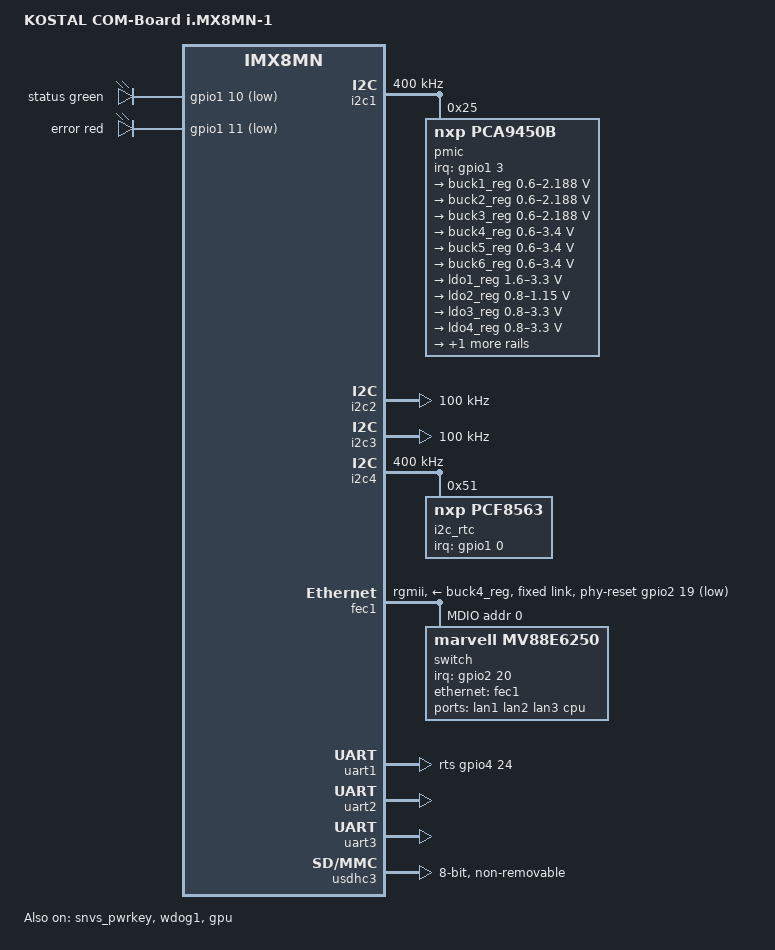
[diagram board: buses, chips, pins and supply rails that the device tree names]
/*
 * Copyright 2019 NXP
 * Copyright (c) 2022 KOSTAL Industrie Elektrik GmbH. All rights reserved.
 *
 * This program is free software; you can redistribute it and/or
 * modify it under the terms of the GNU General Public License
 * as published by the Free Software Foundation; either version 2
 * of the License, or (at your option) any later version.
 *
 * This program is distributed in the hope that it will be useful,
 * but WITHOUT ANY WARRANTY; without even the implied warranty of
 * MERCHANTABILITY or FITNESS FOR A PARTICULAR PURPOSE.  See the
 * GNU General Public License for more details.
 */

/dts-v1/;

#include <dt-bindings/usb/pd.h>
#include <dt-bindings/leds/common.h>
#include "imx8mn.dtsi"

/ {
    model = "KOSTAL COM-Board i.MX8MN-1";
    compatible = "kostal,kcbmx8mn", "fsl,imx8mn-evk", "fsl,imx8mn";

    chosen {
        bootargs = "console=ttymxc1,115200 earlycon=ec_imx6q,0x30890000,115200";
        stdout-path = &uart2;
    };

    leds {
        compatible = "gpio-leds";
        pinctrl-names = "default";
        pinctrl-0 = <&pinctrl_gpio_led>;

        status {
            function = LED_FUNCTION_BOOT;
            color = <LED_COLOR_ID_GREEN>;
            linux,default-trigger = "heartbeat";
            gpios = <&gpio1 10 GPIO_ACTIVE_LOW>;
        };

        error {
            function = LED_FUNCTION_BOOT;
            color = <LED_COLOR_ID_RED>;
            linux,default-trigger = "panic";
            gpios = <&gpio1 11 GPIO_ACTIVE_LOW>;
        };
    };

    aliases {
        rtc0 = &i2c_rtc;
        rtc1 = &snvs_rtc;
    };
};

&A53_0 {
    cpu-supply = <&buck2_reg>;
};

&i2c1 {
    clock-frequency = <400000>;
    pinctrl-names = "default";
    pinctrl-0 = <&pinctrl_i2c1>;
    status = "okay";

    pmic: pca9450@25 {
        reg = <0x25>;
        compatible = "nxp,pca9450b";
        pinctrl-0 = <&pinctrl_pmic>;
        interrupt-parent = <&gpio1>;
        interrupts = <3 IRQ_TYPE_LEVEL_LOW>;

        regulators {
            #address-cells = <1>;
            #size-cells = <0>;

            pca9450,pmic-buck2-uses-i2c-dvs;
            /* Run/Standby voltage */
            pca9450,pmic-buck2-dvs-voltage = <950000>, <850000>;

            buck1_reg: BUCK1 {
                regulator-name = "BUCK1";
                regulator-min-microvolt = <600000>;
                regulator-max-microvolt = <2187500>;
                regulator-boot-on;
                regulator-always-on;
                regulator-ramp-delay = <3125>;
            };

            buck2_reg: BUCK2 {
                regulator-name = "BUCK2";
                regulator-min-microvolt = <600000>;
                regulator-max-microvolt = <2187500>;
                regulator-boot-on;
                regulator-always-on;
                regulator-ramp-delay = <3125>;
            };

            buck3_reg: BUCK3 {
                regulator-name = "BUCK3";
                regulator-min-microvolt = <600000>;
                regulator-max-microvolt = <2187500>;
                regulator-boot-on;
                regulator-always-on;
            };

            buck4_reg: BUCK4 {
                regulator-name = "BUCK4";
                regulator-min-microvolt = <600000>;
                regulator-max-microvolt = <3400000>;
                regulator-boot-on;
                regulator-always-on;
            };

            buck5_reg: BUCK5 {
                regulator-name = "BUCK5";
                regulator-min-microvolt = <600000>;
                regulator-max-microvolt = <3400000>;
                regulator-boot-on;
                regulator-always-on;
            };

            buck6_reg: BUCK6 {
                regulator-name = "BUCK6";
                regulator-min-microvolt = <600000>;
                regulator-max-microvolt = <3400000>;
                regulator-boot-on;
                regulator-always-on;
            };

            ldo1_reg: LDO1 {
                regulator-name = "LDO1";
                regulator-min-microvolt = <1600000>;
                regulator-max-microvolt = <3300000>;
                regulator-boot-on;
                regulator-always-on;
            };

            ldo2_reg: LDO2 {
                regulator-name = "LDO2";
                regulator-min-microvolt = <800000>;
                regulator-max-microvolt = <1150000>;
                regulator-boot-on;
                regulator-always-on;
            };

            ldo3_reg: LDO3 {
                regulator-name = "LDO3";
                regulator-min-microvolt = <800000>;
                regulator-max-microvolt = <3300000>;
                regulator-boot-on;
                regulator-always-on;
            };

            ldo4_reg: LDO4 {
                regulator-name = "LDO4";
                regulator-min-microvolt = <800000>;
                regulator-max-microvolt = <3300000>;
                regulator-boot-on;
                regulator-always-on;
            };

            ldo5_reg: LDO5 {
                regulator-name = "LDO5";
                regulator-min-microvolt = <1800000>;
                regulator-max-microvolt = <3300000>;
            };
        };
    };
};

&i2c2 {
    // RFID
    clock-frequency = <100000>;
    pinctrl-names = "default";
    pinctrl-0 = <&pinctrl_i2c2>;
    status = "okay";
};

&i2c3 {
    //DSI
    clock-frequency = <100000>;
    pinctrl-names = "default";
    pinctrl-0 = <&pinctrl_i2c3>;
    status = "okay";
};

&i2c4 {
    clock-frequency = <400000>;
    pinctrl-names = "default";
    pinctrl-0 = <&pinctrl_i2c4>;
    status = "okay";

    i2c_rtc: rtc@51 {
        compatible = "nxp,pcf8563";
        reg = <0x51>;
        #clock-cells = <0>;
        pinctrl-names = "default";
        pinctrl-0 = <&pinctrl_rtc_int>;
        interrupt-parent = <&gpio1>;
        interrupts = <0 IRQ_TYPE_LEVEL_LOW>;
    };
};

&fec1 {
    pinctrl-names = "default";
    pinctrl-0 = <&pinctrl_fec1>;
    phy-mode = "rgmii";
    phy-reset-gpios = <&gpio2 19 GPIO_ACTIVE_LOW>;
    phy-reset-duration = <10>;
    phy-reset-post-delay = <20>;
    phy-supply = <&buck4_reg>;
    fsl,magic-packet;
    status = "okay";

    fixed-link {
        speed = <100>;
        full-duplex;
    };

    mdio {
        #address-cells = <1>;
        #size-cells = <0>;

        switch@0 {
            compatible = "marvell,mv88e6250";
            reg = <0x00>;

            interrupt-parent = <&gpio2>;
            interrupts = <20 IRQ_TYPE_LEVEL_LOW>;
            interrupt-controller;
            #interrupt-cells = <2>;

            ports {
                #address-cells = <1>;
                #size-cells = <0>;

                port@0 {
                    reg = <0>;
                    label = "lan1";
                };

                port@1 {
                    reg = <1>;
                    label = "lan2";
                };

                port@2 {
                    reg = <2>;
                    label = "lan3";
                };

                port@5 {
                    reg = <5>;
                    label = "cpu";
                    phy-mode = "rgmii-id";
                    ethernet = <&fec1>;

                    fixed-link {
                           speed = <100>;
                           full-duplex;
                    };
                };
            };
        };
    };
};

&snvs_pwrkey {
    status = "okay";
};

&uart1 { /* RS485 on ttymxc0 */
    pinctrl-names = "default";
    pinctrl-0 = <&pinctrl_uart1>;
    rs485-rx-during-tx;
    rts-gpios = <&gpio4 24 GPIO_ACTIVE_HIGH>;
    linux,rs485-enabled-at-boot-time;
    status = "okay";
};

&uart2 { /* console */
    pinctrl-names = "default";
    pinctrl-0 = <&pinctrl_uart2>;
    status = "okay";
};

&uart3 { /* extern */
    pinctrl-names = "default";
    pinctrl-0 = <&pinctrl_uart3>;
    fsl,uart-has-rtscts;
    status = "okay";
};

&usdhc2 { /* SD card - not working with current hardware */
    status = "disabled";
};

&usdhc3 { /* eMMC */
    pinctrl-names = "default", "state_100mhz", "state_200mhz";
    pinctrl-0 = <&pinctrl_usdhc3>;
    pinctrl-1 = <&pinctrl_usdhc3_100mhz>;
    pinctrl-2 = <&pinctrl_usdhc3_200mhz>;
    bus-width = <8>;
    non-removable;
    status = "okay";
};

&wdog1 {
    pinctrl-names = "default";
    pinctrl-0 = <&pinctrl_wdog>;
    fsl,ext-reset-output;
    status = "okay";
};

&gpu {
    status = "okay";
};

&iomuxc {
    pinctrl-names = "default";

    imx8mn-evk {
        pinctrl_fec1: fec1grp {
            fsl,pins = <
                MX8MN_IOMUXC_ENET_MDC_ENET1_MDC                 0x3
                MX8MN_IOMUXC_ENET_MDIO_ENET1_MDIO               0x3
                MX8MN_IOMUXC_ENET_TD3_ENET1_RGMII_TD3           0x1f
                MX8MN_IOMUXC_ENET_TD2_ENET1_RGMII_TD2           0x1f
                MX8MN_IOMUXC_ENET_TD1_ENET1_RGMII_TD1           0x1f
                MX8MN_IOMUXC_ENET_TD0_ENET1_RGMII_TD0           0x1f
                MX8MN_IOMUXC_ENET_RD3_ENET1_RGMII_RD3           0x191 // low
                MX8MN_IOMUXC_ENET_RD2_ENET1_RGMII_RD2           0x191 // low nicht schön 0.7V
                MX8MN_IOMUXC_ENET_RD1_ENET1_RGMII_RD1           0x191 // low
                MX8MN_IOMUXC_ENET_RD0_ENET1_RGMII_RD0           0x1D1 // high
                MX8MN_IOMUXC_ENET_TXC_ENET1_RGMII_TXC           0x1f
                MX8MN_IOMUXC_ENET_RXC_ENET1_RGMII_RXC           0x91
                MX8MN_IOMUXC_ENET_RX_CTL_ENET1_RGMII_RX_CTL     0x91
                MX8MN_IOMUXC_ENET_TX_CTL_ENET1_RGMII_TX_CTL     0x1f
                MX8MN_IOMUXC_SD2_RESET_B_GPIO2_IO19             0x19
                MX8MN_IOMUXC_SD2_WP_GPIO2_IO20                  0x159
            >;
        };

        pinctrl_gpio_led: gpioledgrp {
            fsl,pins = <
                MX8MN_IOMUXC_GPIO1_IO10_GPIO1_IO10          0x19
                MX8MN_IOMUXC_GPIO1_IO11_GPIO1_IO11          0x19
            >;
        };

        pinctrl_i2c1: i2c1grp {
            fsl,pins = <
                MX8MN_IOMUXC_I2C1_SCL_I2C1_SCL              0x400001c3
                MX8MN_IOMUXC_I2C1_SDA_I2C1_SDA              0x400001c3
            >;
        };

        pinctrl_pmic: pmicirq {
            fsl,pins = <
                MX8MN_IOMUXC_GPIO1_IO03_GPIO1_IO3           0x41
            >;
        };

        pinctrl_i2c2: i2c2grp {
            fsl,pins = <
                MX8MN_IOMUXC_I2C2_SCL_I2C2_SCL              0x400001c3
                MX8MN_IOMUXC_I2C2_SDA_I2C2_SDA              0x400001c3
            >;
        };

        pinctrl_i2c3: i2c3grp {
            fsl,pins = <
                MX8MN_IOMUXC_I2C3_SCL_I2C3_SCL              0x400001c3
                MX8MN_IOMUXC_I2C3_SDA_I2C3_SDA              0x400001c3
            >;
        };

        pinctrl_i2c4: i2c4grp {
            fsl,pins = <
                MX8MN_IOMUXC_I2C4_SCL_I2C4_SCL               0x400001c3
                MX8MN_IOMUXC_I2C4_SDA_I2C4_SDA              0x400001c3
            >;
        };

        pinctrl_rtc_int: rtcint {
            fsl,pins = <
                MX8MN_IOMUXC_GPIO1_IO00_GPIO1_IO0           0x140
            >;
        };

        pinctrl_uart1: uart1grp {
            fsl,pins = <
                MX8MN_IOMUXC_SAI2_RXFS_UART1_DCE_TX         0x140
                MX8MN_IOMUXC_SAI2_RXC_UART1_DCE_RX          0x140
                MX8MN_IOMUXC_SAI2_TXFS_GPIO4_IO24           0x00
            >;
        };

        pinctrl_uart2: uart2grp {
            fsl,pins = <
                MX8MN_IOMUXC_SAI3_TXFS_UART2_DCE_RX         0x140
                MX8MN_IOMUXC_SAI3_TXC_UART2_DCE_TX          0x140
            >;
        };

        pinctrl_uart3: uart3grp {
            fsl,pins = <
                MX8MN_IOMUXC_UART3_RXD_UART3_DCE_RX         0x140
                MX8MN_IOMUXC_UART3_TXD_UART3_DTE_RX         0x140
                MX8MN_IOMUXC_SD1_STROBE_UART3_DCE_CTS_B     0x140
                MX8MN_IOMUXC_SD1_RESET_B_UART3_DCE_RTS_B    0x140
            >;
        };

        pinctrl_usdhc3: usdhc3grp {
            fsl,pins = <
                MX8MN_IOMUXC_NAND_WE_B_USDHC3_CLK           0x190
                MX8MN_IOMUXC_NAND_WP_B_USDHC3_CMD           0x1d0
                MX8MN_IOMUXC_NAND_DATA04_USDHC3_DATA0       0x1d0
                MX8MN_IOMUXC_NAND_DATA05_USDHC3_DATA1       0x1d0
                MX8MN_IOMUXC_NAND_DATA06_USDHC3_DATA2       0x1d0
                MX8MN_IOMUXC_NAND_DATA07_USDHC3_DATA3       0x1d0
                MX8MN_IOMUXC_NAND_RE_B_USDHC3_DATA4         0x1d0
                MX8MN_IOMUXC_NAND_CE2_B_USDHC3_DATA5        0x1d0
                MX8MN_IOMUXC_NAND_CE3_B_USDHC3_DATA6        0x1d0
                MX8MN_IOMUXC_NAND_CLE_USDHC3_DATA7          0x1d0
                MX8MN_IOMUXC_NAND_CE1_B_USDHC3_STROBE       0x190
            >;
        };

        pinctrl_usdhc3_100mhz: usdhc3grp100mhz {
            fsl,pins = <
                MX8MN_IOMUXC_NAND_WE_B_USDHC3_CLK           0x194
                MX8MN_IOMUXC_NAND_WP_B_USDHC3_CMD           0x1d4
                MX8MN_IOMUXC_NAND_DATA04_USDHC3_DATA0       0x1d4
                MX8MN_IOMUXC_NAND_DATA05_USDHC3_DATA1       0x1d4
                MX8MN_IOMUXC_NAND_DATA06_USDHC3_DATA2       0x1d4
                MX8MN_IOMUXC_NAND_DATA07_USDHC3_DATA3       0x1d4
                MX8MN_IOMUXC_NAND_RE_B_USDHC3_DATA4         0x1d4
                MX8MN_IOMUXC_NAND_CE2_B_USDHC3_DATA5        0x1d4
                MX8MN_IOMUXC_NAND_CE3_B_USDHC3_DATA6        0x1d4
                MX8MN_IOMUXC_NAND_CLE_USDHC3_DATA7          0x1d4
                MX8MN_IOMUXC_NAND_CE1_B_USDHC3_STROBE       0x194
            >;
        };

        pinctrl_usdhc3_200mhz: usdhc3grp200mhz {
            fsl,pins = <
                MX8MN_IOMUXC_NAND_WE_B_USDHC3_CLK           0x196
                MX8MN_IOMUXC_NAND_WP_B_USDHC3_CMD           0x1d6
                MX8MN_IOMUXC_NAND_DATA04_USDHC3_DATA0       0x1d6
                MX8MN_IOMUXC_NAND_DATA05_USDHC3_DATA1       0x1d6
                MX8MN_IOMUXC_NAND_DATA06_USDHC3_DATA2       0x1d6
                MX8MN_IOMUXC_NAND_DATA07_USDHC3_DATA3       0x1d6
                MX8MN_IOMUXC_NAND_RE_B_USDHC3_DATA4         0x1d6
                MX8MN_IOMUXC_NAND_CE2_B_USDHC3_DATA5        0x1d6
                MX8MN_IOMUXC_NAND_CE3_B_USDHC3_DATA6        0x1d6
                MX8MN_IOMUXC_NAND_CLE_USDHC3_DATA7          0x1d6
                MX8MN_IOMUXC_NAND_CE1_B_USDHC3_STROBE       0x196
            >;
        };

        pinctrl_wdog: wdoggrp {
            fsl,pins = <
                MX8MN_IOMUXC_GPIO1_IO02_WDOG1_WDOG_B        0xc6
            >;
        };
    };
};
